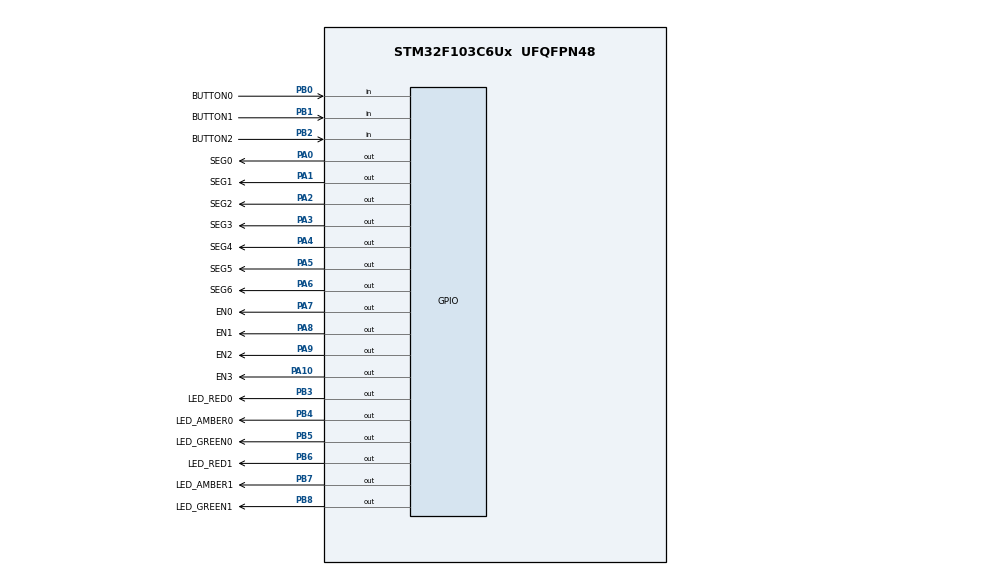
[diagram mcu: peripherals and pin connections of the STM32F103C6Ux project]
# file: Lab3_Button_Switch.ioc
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Mcu.Family=STM32F1
Mcu.Name=STM32F103C6Ux
Mcu.Package=UFQFPN48
NVIC.PriorityGroup=NVIC_PRIORITYGROUP_4
NVIC.TIM2_IRQn=true\:0\:0\:false\:false\:true\:true\:true\:true
PA0-WKUP.GPIO_Label=SEG0
PA0-WKUP.Signal=GPIO_Output
PA1.GPIO_Label=SEG1
PA1.Signal=GPIO_Output
PA10.GPIO_Label=EN3
PA10.Signal=GPIO_Output
PA2.GPIO_Label=SEG2
PA2.Signal=GPIO_Output
PA3.GPIO_Label=SEG3
PA3.Signal=GPIO_Output
PA4.GPIO_Label=SEG4
PA4.Signal=GPIO_Output
PA5.GPIO_Label=SEG5
PA5.Signal=GPIO_Output
PA6.GPIO_Label=SEG6
PA6.Signal=GPIO_Output
PA7.GPIO_Label=EN0
PA7.Signal=GPIO_Output
PA8.GPIO_Label=EN1
PA8.Signal=GPIO_Output
PA9.GPIO_Label=EN2
PA9.Signal=GPIO_Output
PB0.GPIO_Label=BUTTON0
PB0.Signal=GPIO_Input
PB1.GPIO_Label=BUTTON1
PB1.Signal=GPIO_Input
PB2.GPIO_Label=BUTTON2
PB2.Signal=GPIO_Input
PB3.GPIO_Label=LED_RED0
PB3.Signal=GPIO_Output
PB4.GPIO_Label=LED_AMBER0
PB4.Signal=GPIO_Output
PB5.GPIO_Label=LED_GREEN0
PB5.Signal=GPIO_Output
PB6.GPIO_Label=LED_RED1
PB6.Signal=GPIO_Output
PB7.GPIO_Label=LED_AMBER1
PB7.Signal=GPIO_Output
PB8.GPIO_Label=LED_GREEN1
PB8.Signal=GPIO_Output
ProjectManager.HeapSize=0x200
ProjectManager.StackSize=0x400
ProjectManager.TargetToolchain=STM32CubeIDE
RCC.APB1Freq_Value=8000000
RCC.APB2Freq_Value=8000000
TIM2.Period=9
TIM2.Prescaler=7999
VP_SYS_VS_ND.Mode=No_Debug
VP_TIM2_VS_ClockSourceINT.Mode=Internal
board=custom

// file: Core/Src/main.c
/* USER CODE BEGIN Header */
/**
  ******************************************************************************
  * @file           : main.c
  * @brief          : Main program body
  ******************************************************************************
  * @attention
  *
  * Copyright (c) 2025 STMicroelectronics.
  * All rights reserved.
  *
  * This software is licensed under terms that can be found in the LICENSE file
  * in the root directory of this software component.
  * If no LICENSE file comes with this software, it is provided AS-IS.
  *
  ******************************************************************************
  */
/* USER CODE END Header */
#include "main.h"

/* USER CODE BEGIN Includes */
#include "auto_mode.h"
#include "configure_mode.h"
#include "button.h"
#include "software_timer.h"
#include "control_display.h"
/* USER CODE END Includes */

TIM_HandleTypeDef htim2;

void SystemClock_Config(void);
static void MX_GPIO_Init(void);
static void MX_TIM2_Init(void);

int main(void)
{

  /* MCU Configuration--------------------------------------------------------*/

  /* Reset of all peripherals, Initializes the Flash interface and the Systick. */
  HAL_Init();

  /* Configure the system clock */
  SystemClock_Config();

  /* Initialize all configured peripherals */
  MX_GPIO_Init();
  MX_TIM2_Init();
  /* USER CODE BEGIN 2 */
  HAL_TIM_Base_Start_IT(&htim2);
  /* USER CODE END 2 */

  /* Infinite loop */
  /* USER CODE BEGIN WHILE */
init_running();
setTimer(0, 10);
setTimer(1, 10);
  while (1)
  {
	  if(istimer_flag(0) == 1){
		  fsm_button();
		  auto_mode();
		  configure_mode();
		  setTimer(0, TRAFIC_SCAN);
	  }
	  if(istimer_flag(1) == 1){
		  if(index_led > 3) index_led = 0;
		  update7SEG(index_led++);
		  setTimer(1, 50);
	  }
    /* USER CODE END WHILE */

  }
}

void SystemClock_Config(void)
{
  RCC_OscInitTypeDef RCC_OscInitStruct = {0};
  RCC_ClkInitTypeDef RCC_ClkInitStruct = {0};

  /** Initializes the RCC Oscillators according to the specified parameters
  * in the RCC_OscInitTypeDef structure.
  */
  RCC_OscInitStruct.OscillatorType = RCC_OSCILLATORTYPE_HSI;
  RCC_OscInitStruct.HSIState = RCC_HSI_ON;
  RCC_OscInitStruct.HSICalibrationValue = RCC_HSICALIBRATION_DEFAULT;
  RCC_OscInitStruct.PLL.PLLState = RCC_PLL_NONE;
  if (HAL_RCC_OscConfig(&RCC_OscInitStruct) != HAL_OK)
  {
    Error_Handler();
  }

  /** Initializes the CPU, AHB and APB buses clocks
  */
  RCC_ClkInitStruct.ClockType = RCC_CLOCKTYPE_HCLK|RCC_CLOCKTYPE_SYSCLK
                              |RCC_CLOCKTYPE_PCLK1|RCC_CLOCKTYPE_PCLK2;
  RCC_ClkInitStruct.SYSCLKSource = RCC_SYSCLKSOURCE_HSI;
  RCC_ClkInitStruct.AHBCLKDivider = RCC_SYSCLK_DIV1;
  RCC_ClkInitStruct.APB1CLKDivider = RCC_HCLK_DIV1;
  RCC_ClkInitStruct.APB2CLKDivider = RCC_HCLK_DIV1;

  if (HAL_RCC_ClockConfig(&RCC_ClkInitStruct, FLASH_LATENCY_0) != HAL_OK)
  {
    Error_Handler();
  }
}

static void MX_TIM2_Init(void)
{

  TIM_ClockConfigTypeDef sClockSourceConfig = {0};
  TIM_MasterConfigTypeDef sMasterConfig = {0};

  htim2.Instance = TIM2;
  htim2.Init.Prescaler = 7999;
  htim2.Init.CounterMode = TIM_COUNTERMODE_UP;
  htim2.Init.Period = 9;
  htim2.Init.ClockDivision = TIM_CLOCKDIVISION_DIV1;
  htim2.Init.AutoReloadPreload = TIM_AUTORELOAD_PRELOAD_DISABLE;
  if (HAL_TIM_Base_Init(&htim2) != HAL_OK)
  {
    Error_Handler();
  }
  sClockSourceConfig.ClockSource = TIM_CLOCKSOURCE_INTERNAL;
  if (HAL_TIM_ConfigClockSource(&htim2, &sClockSourceConfig) != HAL_OK)
  {
    Error_Handler();
  }
  sMasterConfig.MasterOutputTrigger = TIM_TRGO_RESET;
  sMasterConfig.MasterSlaveMode = TIM_MASTERSLAVEMODE_DISABLE;
  if (HAL_TIMEx_MasterConfigSynchronization(&htim2, &sMasterConfig) != HAL_OK)
  {
    Error_Handler();
  }

}

static void MX_GPIO_Init(void)
{
  GPIO_InitTypeDef GPIO_InitStruct = {0};

  /* GPIO Ports Clock Enable */
  __HAL_RCC_GPIOA_CLK_ENABLE();
  __HAL_RCC_GPIOB_CLK_ENABLE();

  /*Configure GPIO pin Output Level */
  HAL_GPIO_WritePin(GPIOA, SEG0_Pin|SEG1_Pin|SEG2_Pin|SEG3_Pin
                          |SEG4_Pin|SEG5_Pin|SEG6_Pin|EN0_Pin
                          |EN1_Pin|EN2_Pin|EN3_Pin, GPIO_PIN_RESET);

  /*Configure GPIO pin Output Level */
  HAL_GPIO_WritePin(GPIOB, LED_RED0_Pin|LED_AMBER0_Pin|LED_GREEN0_Pin|LED_RED1_Pin
                          |LED_AMBER1_Pin|LED_GREEN1_Pin, GPIO_PIN_RESET);

  /*Configure GPIO pins : SEG0_Pin SEG1_Pin SEG2_Pin SEG3_Pin
                           SEG4_Pin SEG5_Pin SEG6_Pin EN0_Pin
                           EN1_Pin EN2_Pin EN3_Pin */
  GPIO_InitStruct.Pin = SEG0_Pin|SEG1_Pin|SEG2_Pin|SEG3_Pin
                          |SEG4_Pin|SEG5_Pin|SEG6_Pin|EN0_Pin
                          |EN1_Pin|EN2_Pin|EN3_Pin;
  GPIO_InitStruct.Mode = GPIO_MODE_OUTPUT_PP;
  GPIO_InitStruct.Pull = GPIO_NOPULL;
  GPIO_InitStruct.Speed = GPIO_SPEED_FREQ_LOW;
  HAL_GPIO_Init(GPIOA, &GPIO_InitStruct);

  /*Configure GPIO pins : BUTTON0_Pin BUTTON1_Pin BUTTON2_Pin */
  GPIO_InitStruct.Pin = BUTTON0_Pin|BUTTON1_Pin|BUTTON2_Pin;
  GPIO_InitStruct.Mode = GPIO_MODE_INPUT;
  GPIO_InitStruct.Pull = GPIO_NOPULL;
  HAL_GPIO_Init(GPIOB, &GPIO_InitStruct);

  /*Configure GPIO pins : LED_RED0_Pin LED_AMBER0_Pin LED_GREEN0_Pin LED_RED1_Pin
                           LED_AMBER1_Pin LED_GREEN1_Pin */
  GPIO_InitStruct.Pin = LED_RED0_Pin|LED_AMBER0_Pin|LED_GREEN0_Pin|LED_RED1_Pin
                          |LED_AMBER1_Pin|LED_GREEN1_Pin;
  GPIO_InitStruct.Mode = GPIO_MODE_OUTPUT_PP;
  GPIO_InitStruct.Pull = GPIO_NOPULL;
  GPIO_InitStruct.Speed = GPIO_SPEED_FREQ_LOW;
  HAL_GPIO_Init(GPIOB, &GPIO_InitStruct);

}

void Error_Handler(void)
{
  __disable_irq();
  while (1)
  {
  }
}
